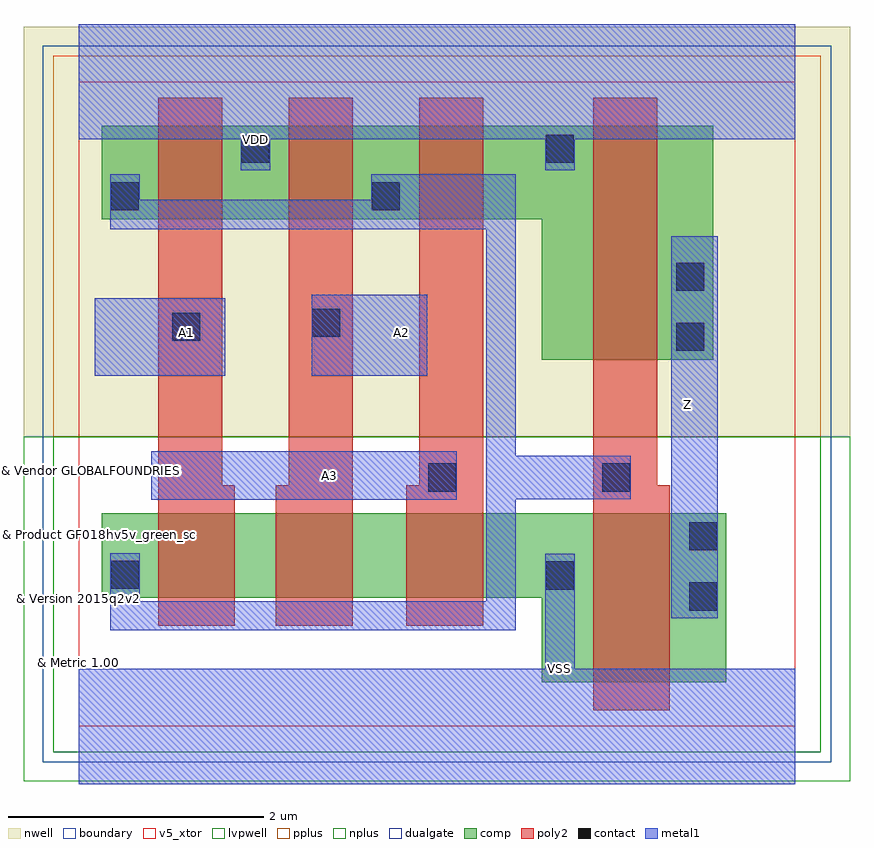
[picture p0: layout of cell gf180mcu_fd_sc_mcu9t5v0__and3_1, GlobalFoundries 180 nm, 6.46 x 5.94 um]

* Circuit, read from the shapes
.subckt gf180mcu_fd_sc_mcu9t5v0__and3_1 A1 A2 A3 VDD VSS Z
XM1 n1 A1 n2 VSUBS nfet_05v0 w=0.66u l=0.6u
XM2 n3 A2 n1 VSUBS nfet_05v0 w=0.66u l=0.6u
XM3 VSS A3 n3 VSUBS nfet_05v0 w=0.66u l=0.6u
XM4 Z n2 VSS VSUBS nfet_05v0 w=1.32u l=0.6u
XM5 VDD A1 n2 n4 pfet_05v0 w=0.73u l=0.5u
XM6 n2 A2 VDD n4 pfet_05v0 w=0.73u l=0.5u
XM7 VDD A3 n2 n4 pfet_05v0 w=0.73u l=0.5u
XM8 Z n2 VDD n4 pfet_05v0 w=1.83u l=0.5u
.ends

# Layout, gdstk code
import gdstk
lib = gdstk.Library(unit=1e-6, precision=1e-09)
def R(c, l, rs):  # rectangles x0, y0, x1, y1
    for r in rs: c.add(gdstk.rectangle(r[:2], r[2:], *l))
def P(c, l, *ps):  # polygons
    for p in ps: c.add(gdstk.Polygon(p, *l))
boundary = (0, 0)
nwell = (21, 0)
comp = (22, 0)
poly2 = (30, 0)
pplus = (31, 0)
nplus = (32, 0)
contact = (33, 0)
metal1 = (34, 0)
dualgate = (55, 0)
v5_xtor = (112, 1)
lvpwell = (204, 0)

gf180mcu_fd_sc_mcu9t5v0_ = lib.new_cell('gf180mcu_fd_sc_mcu9t5v0__and3_1')
R(gf180mcu_fd_sc_mcu9t5v0_, boundary, [(0,0,5.6,5.04)])
R(gf180mcu_fd_sc_mcu9t5v0_, nwell, [(-0.43,2.265,6.03,5.47)])
P(gf180mcu_fd_sc_mcu9t5v0_, comp, [(3.62,2.865),(3.62,3.965),(0.18,3.965),(0.18,4.695),(4.96,4.695),(4.96,2.865)],
  [(3.62,0.345),(3.62,1.005),(0.18,1.005),(0.18,1.665),(5.06,1.665),(5.06,0.345)])
P(gf180mcu_fd_sc_mcu9t5v0_, poly2, [(0.62,0.785),(0.62,4.915),(1.12,4.915),(1.12,1.885),(1.22,1.885),(1.22,0.785)],
  [(1.54,0.785),(1.54,1.885),(1.64,1.885),(1.64,4.915),(2.14,4.915),(2.14,0.785)],
  [(2.56,0.785),(2.56,1.885),(2.66,1.885),(2.66,4.915),(3.16,4.915),(3.16,0.785)],
  [(4.02,0.125),(4.02,4.915),(4.52,4.915),(4.52,1.885),(4.62,1.885),(4.62,0.125)])
R(gf180mcu_fd_sc_mcu9t5v0_, pplus, [(-0.2,2.265,5.8,5.24)])
R(gf180mcu_fd_sc_mcu9t5v0_, nplus, [(-0.2,-0.2,5.8,2.265)])
R(gf180mcu_fd_sc_mcu9t5v0_, contact, [(4.77,0.905,4.99,1.125), (3.65,1.07,3.87,1.29), (0.25,1.075,0.47,1.295), (4.77,1.375,4.99,1.595), (2.73,1.835,2.95,2.055), (4.09,1.835,4.31,2.055), (4.67,2.935,4.89,3.155), (0.73,3.015,0.95,3.235), (1.825,3.045,2.045,3.265), (4.67,3.405,4.89,3.625), (0.25,4.035,0.47,4.255), (2.29,4.035,2.51,4.255), (1.27,4.405,1.49,4.625), (3.65,4.405,3.87,4.625)])
R(gf180mcu_fd_sc_mcu9t5v0_, metal1, [(4.63,0.845,4.995,3.83), (0.565,1.77,2.955,2.15), (0.125,2.74,1.145,3.345), (1.82,2.74,2.725,3.375)])
P(gf180mcu_fd_sc_mcu9t5v0_, metal1, [(0.245,0.75),(0.245,1.355),(0.475,1.355),(0.475,0.98),(3.185,0.98),(3.185,3.885),(0.245,3.885),(0.245,4.315),(0.475,4.315),(0.475,4.115),(2.285,4.115),(2.285,4.315),(3.415,4.315),(3.415,2.115),(4.315,2.115),(4.315,1.775),(3.415,1.775),(3.415,0.75)],
  [(0,-0.45),(0,0.45),(3.645,0.45),(3.645,1.35),(3.875,1.35),(3.875,0.45),(5.6,0.45),(5.6,-0.45)],
  [(1.265,4.345),(1.265,4.59),(0,4.59),(0,5.49),(5.6,5.49),(5.6,4.59),(3.875,4.59),(3.875,4.345),(3.645,4.345),(3.645,4.59),(1.495,4.59),(1.495,4.345)])
R(gf180mcu_fd_sc_mcu9t5v0_, dualgate, [(-0.28,-0.28,5.88,5.32)])
R(gf180mcu_fd_sc_mcu9t5v0_, v5_xtor, [(0,0,5.6,5.04)])
R(gf180mcu_fd_sc_mcu9t5v0_, lvpwell, [(-0.43,-0.43,6.03,2.265)])
gf180mcu_fd_sc_mcu9t5v0_.add(gdstk.Label('A1', (0.84,3.08), layer=34, texttype=10))
gf180mcu_fd_sc_mcu9t5v0_.add(gdstk.Label('A2', (2.52,3.08), layer=34, texttype=10))
gf180mcu_fd_sc_mcu9t5v0_.add(gdstk.Label('A3', (1.96,1.96), layer=34, texttype=10))
gf180mcu_fd_sc_mcu9t5v0_.add(gdstk.Label('VDD', (1.38,4.59), layer=34, texttype=10))
gf180mcu_fd_sc_mcu9t5v0_.add(gdstk.Label('VSS', (3.76,0.45), layer=34, texttype=10))
gf180mcu_fd_sc_mcu9t5v0_.add(gdstk.Label('Z', (4.76,2.52), layer=34, texttype=10))
gf180mcu_fd_sc_mcu9t5v0_.add(gdstk.Label('& Vendor GLOBALFOUNDRIES', (0,2), layer=63, texttype=63))
gf180mcu_fd_sc_mcu9t5v0_.add(gdstk.Label('& Product GF018hv5v_green_sc9', (0,1.5), layer=63, texttype=63))
gf180mcu_fd_sc_mcu9t5v0_.add(gdstk.Label('& Version 2015q2v2', (0,1), layer=63, texttype=63))
gf180mcu_fd_sc_mcu9t5v0_.add(gdstk.Label('& Metric 1.00', (0,0.5), layer=63, texttype=63))

lib.write_gds('gf180mcu_fd_sc_mcu9t5v0__and3_1.gds')
